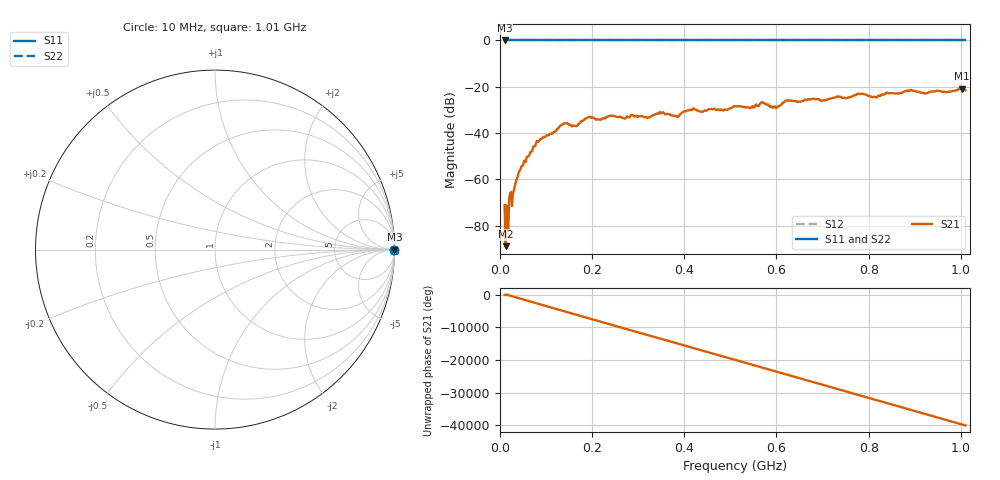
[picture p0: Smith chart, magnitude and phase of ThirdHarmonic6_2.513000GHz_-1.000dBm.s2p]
! 8/17/2025 4:53:59 AM
! C:\ANRITSUVNA\TEMP\TEMP.S2P
! CHANNEL.1
! TR.MEASUREMENT
! RAW.DATA
! RF.CORRECTION.OFF
! AVERAGING.OFF
! IF.BANDWIDTH: 5KHZ
! SWEEPTYPE:  FREQ.SWEEP(Linear)
! Reference Plane Port Info
! PORT:  PORT1  PORT2
! DISTANCE:  0  m  0  m
! TIME:  0  s  0  s
! PHASE.OFFSET:  0  deg.  0  deg.
! LOSS:  0  dB  0  dB
! REF.LOSS:  0  dB  0  dB
! REF.FREQ:  0  Hz  0  Hz
! Power Info
! POWER:  -20  dBm  -20  dBm
! EFF.POWER:  -20  dBm  -20  dBm
! SOURCE.ATTEN:  0  dB  0  dB
! TEST.ATTEN:  0  dB  0  dB
# GHZ S RI R 50.0
! FREQ.GHZ  S11RE  S11IM  S21RE  S21IM  S12RE  S12IM  S22RE  S22IM
!; PortSelection: Port_12
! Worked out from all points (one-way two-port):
!   501 points, 10 MHz to 1.01 GHz, reference 50 ohm
!   highest |S21| = -20.82 dB at 1.002 GHz (marker M1); lowest = -88.9 dB at 12 MHz (marker M2)
!   lowest |S11| = 0.0 dB at 10 MHz (marker M3)
!   |S11| at or under -10 dB: nowhere
!   |S22| runs from 0.0 to 0.0 dB; largest |S21 - S12| = 1.1
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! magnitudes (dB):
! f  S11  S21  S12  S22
! 10 MHz  0.0  -71.2  0.0  0.0
! 12 MHz  0.0  -88.9  0.0  0.0
! 16 MHz  0.0  -80.3  0.0  0.0
! 24 MHz  0.0  -65.5  0.0  0.0
! 30 MHz  0.0  -64.8  0.0  0.0
! 44 MHz  0.0  -55.9  0.0  0.0
! 76 MHz  0.0  -45.7  0.0  0.0
! 136 MHz  0.0  -36.3  0.0  0.0
! 164 MHz  0.0  -36.9  0.0  0.0
! 178 MHz  0.0  -34.7  0.0  0.0
! 322 MHz  0.0  -33.2  0.0  0.0
! 344 MHz  0.0  -31.7  0.0  0.0
! 384 MHz  0.0  -32.9  0.0  0.0
! 416 MHz  0.0  -30.1  0.0  0.0
! 510 MHz  0.0  -28.4  0.0  0.0
! 570 MHz  0.0  -26.7  0.0  0.0
! 596 MHz  0.0  -28.5  0.0  0.0
! 622 MHz  0.0  -26.0  0.0  0.0
! 678 MHz  0.0  -25.3  0.0  0.0
! 844 MHz  0.0  -22.8  0.0  0.0
! 1.002 GHz  0.0  -20.8  0.0  0.0
! 1.01 GHz  0.0  -21.5  0.0  0.0
